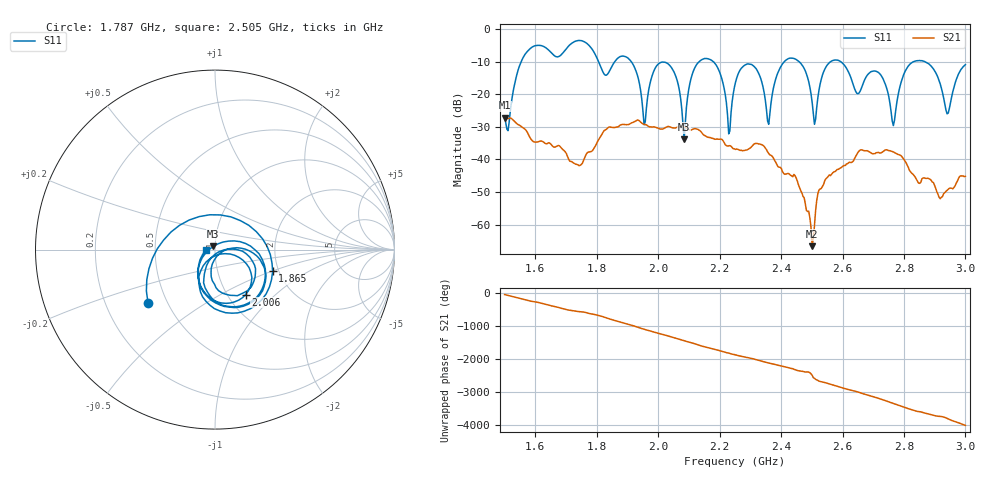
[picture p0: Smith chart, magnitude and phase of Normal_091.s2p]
# HZ S RI R 50
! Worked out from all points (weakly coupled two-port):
!   404 points, 1.5 GHz to 3 GHz, reference 50 ohm
!   highest |S21| = -27.15 dB at 1.5 GHz (marker M1); lowest = -66.6 dB at 2.501 GHz (marker M2)
!   lowest |S11| = -33.8 dB at 2.084 GHz (marker M3), VSWR 1.04, Z = 49 + j1.75 ohm
!   |S11| at or under -10 dB: 1.912 GHz to 2.134 GHz (221.5 MHz wide, 10.9 % of centre); 2.179 GHz to 2.411 GHz (231.4 MHz wide, 10.1 % of centre); 2.594 GHz to 2.832 GHz (238.1 MHz wide, 8.78 % of centre) (the widest 3 of 7)
!   S12 and S22 are empty: the file has one direction only
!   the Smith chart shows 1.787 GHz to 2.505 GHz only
!   S11 on the Smith chart (normalised r, x): 1.787 GHz: 0.39, -0.30; 1.865 GHz: 1.86, -0.51; 2.006 GHz: 1.21, -0.67; 2.505 GHz: 0.90, -0.00
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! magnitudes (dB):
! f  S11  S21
! 1.5 GHz  -26.8  -27.2
! 1.578 GHz  -6.5  -32.5
! 1.753 GHz  -3.7  -41.2
! 1.787 GHz  -6.4  -37.2
! 1.865 GHz  -9.3  -30.1
! 1.954 GHz  -29.4  -29.2
! 2.002 GHz  -10.6  -30.5
! 2.006 GHz  -10.4  -30.7
! 2.084 GHz  -33.8  -29.9
! 2.136 GHz  -9.8  -31.2
! 2.23 GHz  -32.1  -35.8
! 2.252 GHz  -16.3  -36.9
! 2.311 GHz  -11.4  -35.3
! 2.36 GHz  -29.2  -38.2
! 2.442 GHz  -9.0  -44.6
! 2.501 GHz  -22.6  -66.6
! 2.505 GHz  -26.0  -64.1
! 2.572 GHz  -9.6  -43.8
! 2.751 GHz  -20.7  -37.3
! 2.859 GHz  -9.7  -45.9
! 2.944 GHz  -25.8  -49.1
! 3 GHz  -10.9  -45.2
